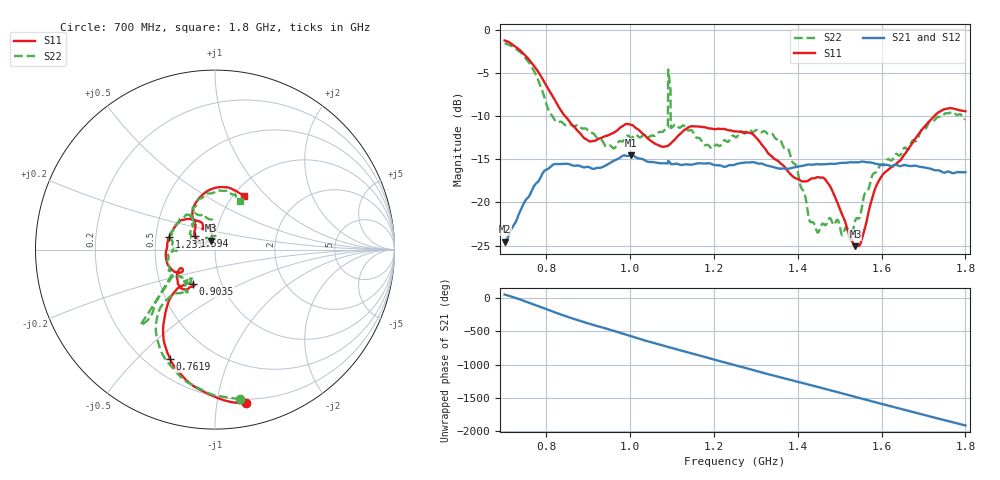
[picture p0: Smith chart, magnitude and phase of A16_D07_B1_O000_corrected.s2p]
! Created with skrf 1.9.0 (http://scikit-rf.org).
# Hz S RI R 50.0
!freq ReS11 ImS11 ReS21 ImS21 ReS12 ImS12 ReS22 ImS22
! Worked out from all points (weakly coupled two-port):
!   1601 points, 700 MHz to 1.8 GHz, reference 50 ohm
!   highest |S21| = -14.51 dB at 1.002 GHz (marker M1); lowest = -24.5 dB at 700.7 MHz (marker M2)
!   lowest |S11| = -25.1 dB at 1.537 GHz (marker M3), VSWR 1.12, Z = 47.4 + j4.79 ohm
!   |S11| at or under -10 dB: 845 MHz to 1.725 GHz (879.7 MHz wide, 68.5 % of centre)
!   |S22| runs from -24.4 to -1.5 dB; largest |S21 - S12| = 0.0036
!   S11 on the Smith chart (normalised r, x): 700 MHz: 0.17, -1.21; 761.9 MHz: 0.29, -0.63; 903.5 MHz: 0.73, -0.29; 1.231 GHz: 0.59, +0.09; 1.594 GHz: 0.79, +0.12; 1.8 GHz: 1.12, +0.75
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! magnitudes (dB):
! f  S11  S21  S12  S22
! 700 MHz  -1.2  -24.5  -24.3  -1.5
! 700.7 MHz  -1.2  -24.5  -24.2  -1.5
! 761.9 MHz  -3.6  -19.0  -18.9  -4.0
! 819.6 MHz  -8.1  -15.5  -15.6  -10.4
! 883.6 MHz  -12.2  -15.8  -15.7  -11.4
! 903.5 MHz  -12.9  -15.9  -15.9  -11.8
! 1.002 GHz  -11.0  -14.5  -14.6  -12.5
! 1.067 GHz  -13.3  -15.4  -15.4  -11.9
! 1.096 GHz  -13.2  -15.4  -15.5  -6.9
! 1.102 GHz  -12.9  -15.6  -15.5  -11.1
! 1.231 GHz  -11.6  -15.8  -15.7  -12.9
! 1.25 GHz  -11.7  -15.6  -15.5  -12.4
! 1.357 GHz  -15.4  -16.1  -16.0  -12.7
! 1.396 GHz  -17.2  -15.9  -15.9  -15.7
! 1.434 GHz  -17.2  -15.6  -15.6  -22.3
! 1.474 GHz  -17.9  -15.5  -15.5  -21.9
! 1.526 GHz  -24.1  -15.3  -15.3  -24.4
! 1.537 GHz  -25.1  -15.3  -15.3  -22.0
! 1.594 GHz  -17.4  -15.6  -15.6  -15.8
! 1.617 GHz  -16.1  -15.7  -15.7  -15.0
! 1.734 GHz  -9.6  -16.3  -16.3  -10.1
! 1.8 GHz  -9.4  -16.5  -16.5  -10.3
